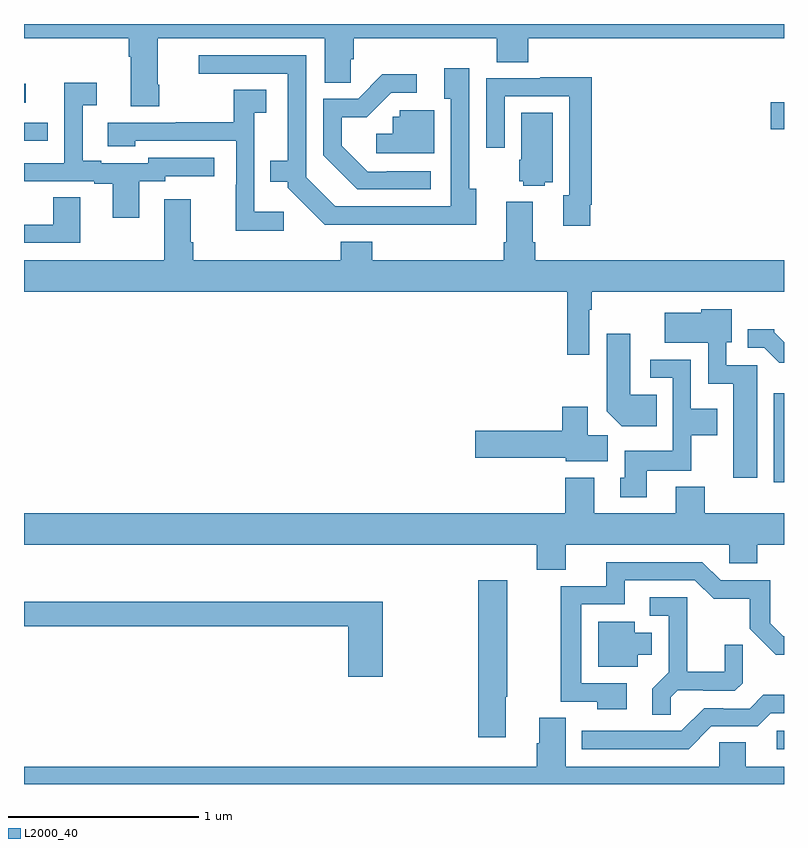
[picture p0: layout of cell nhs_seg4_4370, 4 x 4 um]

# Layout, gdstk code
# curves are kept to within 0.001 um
import gdstk
lib = gdstk.Library(unit=1e-6, precision=1e-09)
def R(c, l, rs):  # rectangles x0, y0, x1, y1
    for r in rs: c.add(gdstk.rectangle(r[:2], r[2:], *l))
def P(c, l, *ps):  # polygons
    for p in ps: c.add(gdstk.Polygon(p, *l))
L2000_40 = (2000, 40)

nhs_seg4_4370 = lib.new_cell('nhs_seg4_4370')
R(nhs_seg4_4370, L2000_40, [(348.963,789.084,349,789.18), (348.947,790.488,349,790.957), (348.93,792.347,349,792.489), (345,792.486,345.01,792.585)])
P(nhs_seg4_4370, L2000_40, [(345.711,792.58),(345.703,792.58),(345.703,792.824),(346.583,792.824),(346.583,792.592),(346.721,792.592),(346.721,792.714),(346.736,792.714),(346.736,792.824),(347.489,792.824),(347.489,792.7),(347.654,792.7),(347.654,792.824),(349,792.824),(349,792.9),(345,792.9),(345,792.824),(345.551,792.824),(345.551,792.728),(345.563,792.728),(345.563,792.468),(345.711,792.468)],
  [(347.38,792.034),(347.343,792.034),(347.343,792.667),(347.213,792.667),(347.213,792.506),(347.247,792.506),(347.247,791.94),(346.638,791.94),(346.485,792.093),(346.485,792.735),(345.921,792.735),(345.921,792.639),(346.388,792.639),(346.388,792.181),(346.297,792.181),(346.297,792.071),(346.389,792.071),(346.389,792.039),(346.584,791.844),(347.38,791.843)],
  [(347.14,792.126),(346.909,792.126),(346.909,792.123),(346.809,792.123),(346.672,792.26),(346.672,792.41),(346.805,792.41),(346.932,792.537),(347.068,792.537),(347.068,792.635),(346.886,792.635),(346.758,792.507),(346.575,792.507),(346.575,792.209),(346.754,792.03),(347.14,792.03)],
  [(347.98,791.95),(347.987,791.95),(347.987,792.619),(347.717,792.619),(347.717,792.615),(347.433,792.615),(347.433,792.249),(347.529,792.249),(347.529,792.519),(347.871,792.519),(347.871,791.999),(347.837,791.999),(347.837,791.838),(347.98,791.838)],
  [(345.607,792.072),(345.744,792.072),(345.744,792.099),(346,792.099),(346,792.195),(345.654,792.195),(345.654,792.168),(345.406,792.168),(345.406,792.181),(345.31,792.181),(345.31,792.472),(345.382,792.472),(345.382,792.592),(345.213,792.592),(345.213,792.168),(345,792.168),(345,792.072),(345.371,792.072),(345.371,792.06),(345.467,792.06),(345.467,791.88),(345.607,791.88)],
  [(346.366,791.911),(346.212,791.911),(346.212,792.433),(346.276,792.433),(346.276,792.554),(346.104,792.554),(346.104,792.384),(345.799,792.384),(345.799,792.381),(345.441,792.381),(345.441,792.257),(345.585,792.257),(345.585,792.285),(346.116,792.285),(346.116,792.053),(346.114,792.053),(346.114,791.813),(346.366,791.813)],
  [(347.158,792.447),(346.977,792.447),(346.977,792.411),(346.941,792.411),(346.941,792.322),(346.854,792.322),(346.854,792.219),(347.158,792.219)],
  [(347.742,792.068),(347.782,792.068),(347.782,792.434),(347.618,792.434),(347.618,792.186),(347.606,792.186),(347.606,792.072),(347.628,792.072),(347.628,792.05),(347.742,792.05)],
  [(345.011,792.286),(345.124,792.286),(345.124,792.381),(345,792.381),(345,792.285),(345.011,792.285)],
  [(345.295,791.987),(345.155,791.987),(345.155,791.844),(345,791.844),(345,791.748),(345.295,791.748)],
  [(347.976,791.396),(347.989,791.396),(347.989,791.492),(349,791.492),(349,791.656),(347.69,791.656),(347.69,791.752),(347.677,791.752),(347.677,791.965),(347.537,791.965),(347.537,791.752),(347.525,791.752),(347.525,791.656),(346.832,791.656),(346.832,791.755),(346.667,791.755),(346.667,791.656),(345.89,791.656),(345.89,791.752),(345.877,791.752),(345.877,791.977),(345.737,791.977),(345.737,791.656),(345,791.656),(345,791.492),(347.86,791.492),(347.86,791.16),(347.976,791.16)],
  [(348.859,791.103),(348.696,791.103),(348.696,791.226),(348.724,791.226),(348.724,791.398),(348.564,791.398),(348.564,791.38),(348.372,791.38),(348.372,791.222),(348.6,791.222),(348.6,791.006),(348.734,791.006),(348.734,790.512),(348.859,790.512)],
  [(349,791.226),(348.948,791.278),(348.948,791.293),(348.809,791.293),(348.809,791.196),(348.897,791.196),(348.976,791.118),(349,791.118)],
  [(348.329,790.948),(348.19,790.948),(348.19,791.269),(348.068,791.269),(348.068,790.862),(348.146,790.784),(348.329,790.784)],
  [(348.277,790.55),(348.513,790.55),(348.513,790.736),(348.649,790.736),(348.649,790.876),(348.51,790.876),(348.51,791.133),(348.297,791.133),(348.297,791.037),(348.414,791.037),(348.414,790.654),(348.161,790.654),(348.161,790.512),(348.137,790.512),(348.137,790.41),(348.277,790.41)],
  [(348.073,790.736),(347.968,790.736),(347.968,790.885),(347.834,790.885),(347.834,790.76),(347.376,790.76),(347.376,790.618),(347.85,790.618),(347.85,790.598),(348.073,790.598)],
  [(347.851,790.16),(348.711,790.16),(348.711,790.062),(348.858,790.062),(348.858,790.16),(349,790.16),(349,790.324),(348.584,790.324),(348.584,790.465),(348.431,790.465),(348.431,790.324),(348.001,790.324),(348.001,790.513),(347.849,790.513),(347.849,790.324),(345,790.324),(345,790.16),(347.699,790.16),(347.699,790.027),(347.851,790.027)],
  [(348.172,789.429),(347.934,789.429),(347.934,789.846),(348.163,789.846),(348.163,789.972),(348.531,789.972),(348.63,789.874),(348.819,789.874),(348.819,789.718),(348.956,789.581),(349,789.581),(349,789.678),(348.996,789.678),(348.927,789.747),(348.927,789.972),(348.666,789.972),(348.57,790.068),(348.065,790.068),(348.065,789.942),(347.826,789.942),(347.826,789.333),(348.016,789.333),(348.016,789.293),(348.172,789.293)],
  [(347.536,789.359),(347.544,789.359),(347.544,789.973),(347.39,789.973),(347.39,789.147),(347.536,789.147)],
  [(348.405,789.356),(348.442,789.393),(348.576,789.393),(348.576,789.39),(348.741,789.39),(348.782,789.431),(348.782,789.633),(348.688,789.633),(348.688,789.49),(348.491,789.49),(348.491,789.882),(348.294,789.882),(348.294,789.786),(348.393,789.786),(348.393,789.487),(348.307,789.401),(348.307,789.265),(348.405,789.265)],
  [(346.889,789.859),(345,789.859),(345,789.73),(346.706,789.73),(346.706,789.465),(346.889,789.465)],
  [(348.229,789.581),(348.304,789.581),(348.304,789.697),(348.214,789.697),(348.214,789.754),(348.023,789.754),(348.023,789.518),(348.229,789.518)],
  [(348.618,789.204),(348.861,789.204),(348.93,789.273),(349,789.273),(349,789.37),(348.892,789.37),(348.819,789.297),(348.68,789.297),(348.68,789.3),(348.579,789.3),(348.459,789.18),(347.936,789.18),(347.936,789.084),(348.498,789.084)],
  [(349,788.992),(348.799,788.992),(348.799,789.119),(348.66,789.119),(348.66,788.992),(347.851,788.992),(347.851,789.248),(347.711,789.248),(347.711,789.114),(347.699,789.114),(347.699,788.992),(345,788.992),(345,788.9),(349,788.9)])

lib.write_gds('nhs_seg4_4370.gds')
